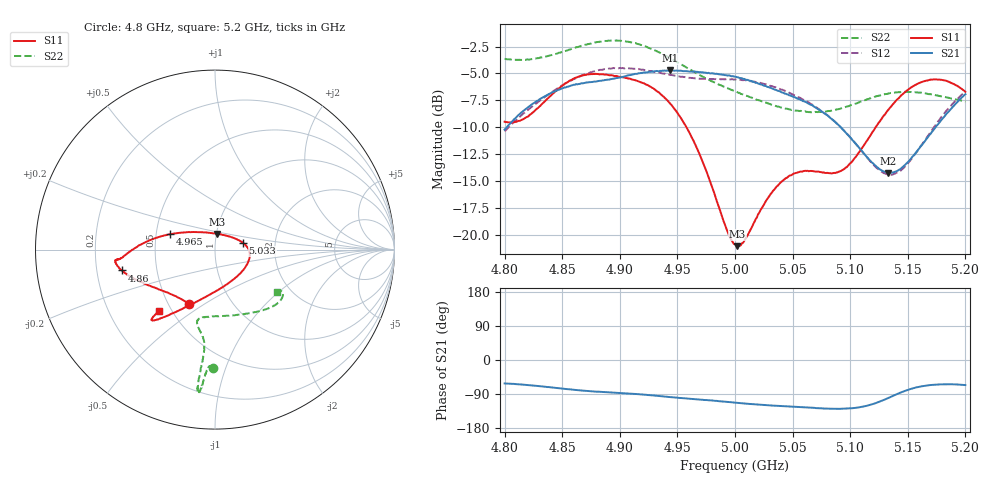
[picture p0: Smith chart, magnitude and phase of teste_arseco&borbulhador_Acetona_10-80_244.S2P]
! Network Analyzer HP8722D
! Hewlett-Packard
! Data name: Linha & Wilkinson
! Saver's name: Rodrigo Anjos
! Comments: Teste da utilização de aquisição
! continua pelo VNA HP8722D
! Time and date: 17/4/2025 16:23
!  Frequency  S11  S21  S12  S22
# HZ  S  MA R 50
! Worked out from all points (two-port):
!   401 points, 4.8 GHz to 5.2 GHz, reference 50 ohm
!   highest |S21| = -4.72 dB at 4.944 GHz (marker M1); lowest = -14.2 dB at 5.133 GHz (marker M2)
!   |S21| within 3 dB of the highest: 4.826 GHz to 5.062 GHz (236.4 MHz wide, 4.78 % of centre); 5.192509 GHz to end of sweep
!   lowest |S11| = -21.1 dB at 5.002 GHz (marker M3), VSWR 1.19, Z = 50.4 + j8.9 ohm
!   |S11| at or under -10 dB: 4.958 GHz to 5.122 GHz (164.3 MHz wide, 3.26 % of centre)
!   |S22| runs from -8.6 to -1.9 dB; largest |S21 - S12| = 0.87
!   S11 on the Smith chart (normalised r, x): 4.8 GHz: 0.63, -0.43; 4.86 GHz: 0.31, -0.10; 4.965 GHz: 0.59, +0.11; 5.033 GHz: 1.36, +0.11; 5.2 GHz: 0.43, -0.37
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4.8e9  0.3354 -115.7  0.308 -61.9  0.3025 -176.1  0.6577 -91.1
4.819e9  0.3525 -136.0  0.3863 -65.8  0.3754 -175.5  0.653 -92.7
4.86e9  0.5323 -167.4  0.4985 -78.5  0.5295 -178.7  0.7356 -95.0
4.867e9  0.5492 -170.2  0.5067 -80.6  0.5508 -179.9  0.7567 -95.4
4.899e9  0.5426 -174.4  0.5375 -86.9  0.5944 173.8  0.7984 -96.8
4.934e9  0.4585 179.9  0.5755 -95.1  0.5685 170.5  0.706 -97.0
4.944e9  0.406 175.4  0.581 -97.9  0.553 170.7  0.6613 -96.8
4.965e9  0.2663 161.3  0.5746 -103.3  0.5338 172.4  0.5707 -96.1
4.993e9  0.1051 115.3  0.5504 -110.6  0.5305 174.7  0.4815 -98.7
5e9  0.09032 90.5  0.5435 -112.6  0.5277 174.7  0.4639 -100.1
5.002e9  0.08839 82.4  0.5406 -113.0  0.5251 174.6  0.4604 -100.6
5.009e9  0.09539 57.6  0.528 -114.8  0.5233 174.5  0.4443 -102.1
5.033e9  0.16 13.8  0.4776 -120.3  0.4884 173.3  0.4007 -103.4
5.049e9  0.1892 -1.5  0.4414 -123.0  0.4519 172.9  0.3804 -99.1
5.067e9  0.1977 -20.9  0.4001 -126.1  0.403 172.4  0.3705 -89.1
5.096e9  0.2049 -71.5  0.299 -128.5  0.2997 174.6  0.3926 -66.4
5.121e9  0.3089 -109.8  0.2113 -115.1  0.2093 -169.8  0.4373 -49.5
5.133e9  0.3802 -119.2  0.1939 -100.3  0.1906 -153.2  0.4535 -43.6
5.134e9  0.3863 -119.9  0.1941 -98.8  0.1902 -151.8  0.4547 -43.1
5.146e9  0.4528 -125.7  0.2074 -83.3  0.2034 -133.8  0.4615 -38.6
5.168e9  0.5237 -131.1  0.287 -66.9  0.291 -113.1  0.4508 -33.1
5.2e9  0.4621 -132.5  0.4503 -66.2  0.4624 -108.3  0.4165 -34.6
